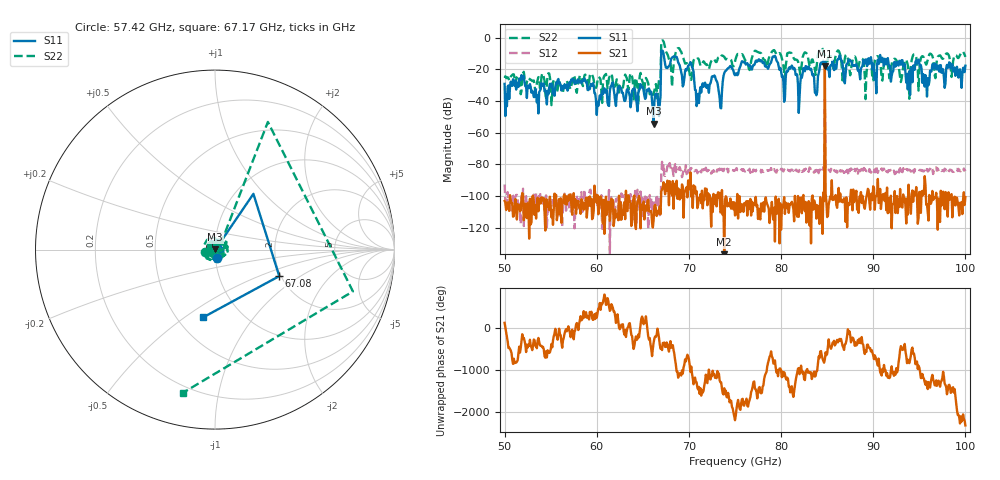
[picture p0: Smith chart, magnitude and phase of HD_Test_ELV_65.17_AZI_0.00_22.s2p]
! 11/25/2026 9:18:28 AM
! C:\ANRITSUVNA\TEMP\TEMP.S2P
! CHANNEL.1
! TR.MEASUREMENT
! RAW.DATA
# HZ S RI R 50.0
! FREQ.HZ  S11RE  S11IM  S21RE  S21IM  S12RE  S12IM  S22RE  S22IM
!; PortSelection: Port_12
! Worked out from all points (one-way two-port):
!   601 points, 50 GHz to 100 GHz, reference 50 ohm
!   highest |S21| = -18.22 dB at 84.75 GHz (marker M1); lowest = -140.0 dB at 73.83 GHz (marker M2)
!   lowest |S11| = -54.3 dB at 66.17 GHz (marker M3), VSWR 1.00, Z = 50.1 + j0.153 ohm
!   |S11| at or under -10 dB: start of sweep to 67 GHz; 67.24 GHz to end of sweep
!   |S22| runs from -42.6 to -1.8 dB; largest |S21 - S12| = 0.11
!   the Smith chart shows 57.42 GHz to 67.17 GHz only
!   S11 on the Smith chart (normalised r, x): 57.42 GHz: 1.02, -0.09; 67.08 GHz: 1.96, -0.68; 67.17 GHz: 0.67, -0.59
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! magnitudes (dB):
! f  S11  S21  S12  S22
! 50 GHz  -29.2  -103.2  -92.8  -25.3
! 57.42 GHz  -26.3  -104.7  -108.6  -25.2
! 58.42 GHz  -27.2  -103.2  -111.7  -29.0
! 60.17 GHz  -43.1  -111.6  -101.2  -24.8
! 66.17 GHz  -54.3  -115.4  -106.1  -35.4
! 66.67 GHz  -41.9  -109.4  -107.2  -32.1
! 67.08 GHz  -8.2  -95.9  -78.4  -1.9
! 67.17 GHz  -8.3  -94.3  -83.5  -1.8
! 70.17 GHz  -15.5  -85.2  -82.6  -25.7
! 70.92 GHz  -40.7  -107.7  -85.7  -13.3
! 73.42 GHz  -44.4  -110.5  -85.1  -12.5
! 73.83 GHz  -22.4  -140.0  -82.9  -12.1
! 75 GHz  -23.7  -112.4  -83.8  -15.0
! 79.25 GHz  -11.8  -107.5  -83.1  -7.9
! 80.25 GHz  -27.6  -105.1  -84.5  -17.7
! 83.42 GHz  -23.8  -99.7  -83.9  -13.8
! 84.75 GHz  -18.4  -18.2  -39.0  -11.6
! 91.67 GHz  -16.7  -106.4  -83.7  -20.5
! 93.75 GHz  -32.7  -111.8  -83.9  -17.3
! 94.83 GHz  -15.0  -117.6  -83.0  -20.3
! 95.83 GHz  -37.2  -105.2  -83.1  -15.9
! 100 GHz  -17.7  -100.8  -84.4  -12.2
